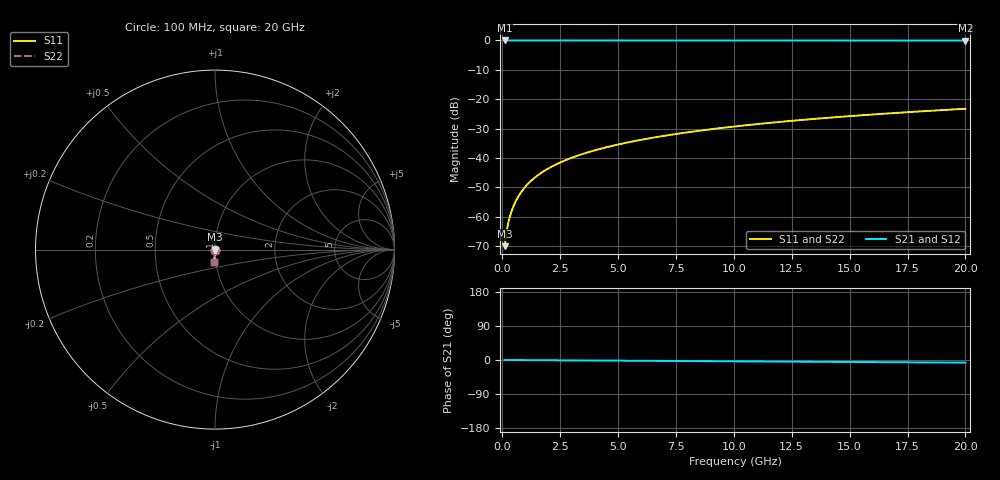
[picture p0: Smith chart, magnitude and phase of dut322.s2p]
! Touchstone file exported from HFSS 2026.1.0
!  File:  C:/ffzhzh/LocalFiles/Ansys_Project_Files/temp_train_TSV_322_1783018374_4048.aedt
!  Generated:  02:54:37 AM Jul  3, 2026
!  Design:  TSV
!  Project:  temp_train_TSV_322_1783018374_4048
! Variables:
!  h_bsmrdl = 2um
!  h_ox = 20um
!  h_rdl = 5um
!  h_sub = 59.92um
!  h_tmrdl = 5um
!  h_tsv = 59.92um
!  h_via = 3um
!  l_bsmrdl = 300um
!  l_sub = 421.78um
!  l_tmrdl = 200um
!  m_sub = 200um
!  pitch = 27.33um
!  r_tsv = 10.89um
!  s_tmrdl = 10um
!  w_bsmrdl = 18um
!  w_sub = 500um
!  w_tmrdl = 12um
!  x_tsv_center1 = 206um
!  x_tsv_center2 = 524um
!  x_tsv_center3 = 736um
!  x_tsv_center4 = 1054um
!  x_tsv_center5 = 1266um
!  x_tsv_center6 = 1584um
# GHz S MA R 50.000000
! Terminal data exported
! Port[1] = TSV1_1_T1
! Port[2] = TSV1_1_T2
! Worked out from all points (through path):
!   200 points, 100 MHz to 20 GHz, reference 50 ohm
!   highest |S21| = 0.00 dB at 100 MHz (marker M1); lowest = 0.0 dB at 20 GHz (marker M2)
!   lowest |S11| = -70.0 dB at 100 MHz (marker M3), VSWR 1.00, Z = 50 - j0.0298 ohm
!   |S11| at or under -10 dB: start of sweep to end of sweep
!   |S22| runs from -70.0 to -23.3 dB; largest |S21 - S12| = 3.2e-15
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0.1  0.0003155 -70.9  0.9999 -0.0  0.9999 -0.0  0.0003155 -70.9
! Gamma 0 0 0 0
! Port Impedance 50 0 50 0
0.2  0.0006124 -78.8  0.9999 -0.1  0.9999 -0.1  0.0006124 -78.8
0.3  0.000922 -81.2  0.9999 -0.1  0.9999 -0.1  0.000922 -81.2
0.4  0.001241 -82.3  0.9998 -0.1  0.9998 -0.1  0.001241 -82.3
0.5  0.001567 -83.0  0.9998 -0.2  0.9998 -0.2  0.001567 -83.0
0.7  0.002236 -84.0  0.9998 -0.3  0.9998 -0.3  0.002236 -84.0
0.8  0.002574 -84.5  0.9997 -0.3  0.9997 -0.3  0.002574 -84.5
1  0.003255 -85.2  0.9997 -0.4  0.9997 -0.4  0.003255 -85.2
1.2  0.003938 -85.8  0.9997 -0.4  0.9997 -0.4  0.003938 -85.8
1.4  0.004622 -86.3  0.9996 -0.5  0.9996 -0.5  0.004622 -86.3
1.7  0.005647 -86.9  0.9996 -0.6  0.9996 -0.6  0.005647 -86.9
2  0.006672 -87.3  0.9996 -0.7  0.9996 -0.7  0.006672 -87.3
2.7  0.009063 -88.2  0.9995 -1.0  0.9995 -1.0  0.009063 -88.2
3.5  0.0118 -88.8  0.9994 -1.2  0.9994 -1.2  0.0118 -88.8
4.2  0.0142 -89.3  0.9994 -1.5  0.9994 -1.5  0.0142 -89.3
5  0.01696 -89.7  0.9993 -1.8  0.9993 -1.8  0.01696 -89.7
6.8  0.02317 -90.6  0.999 -2.4  0.999 -2.4  0.02317 -90.6
8.3  0.02836 -91.3  0.9988 -2.9  0.9988 -2.9  0.02836 -91.3
10.1  0.03459 -92.1  0.9985 -3.5  0.9985 -3.5  0.03459 -92.1
13.4  0.046 -93.4  0.9979 -4.7  0.9979 -4.7  0.046 -93.4
16.7  0.0574 -94.7  0.9972 -5.8  0.9972 -5.8  0.0574 -94.7
20  0.06878 -95.9  0.9964 -6.9  0.9964 -6.9  0.06878 -95.9
